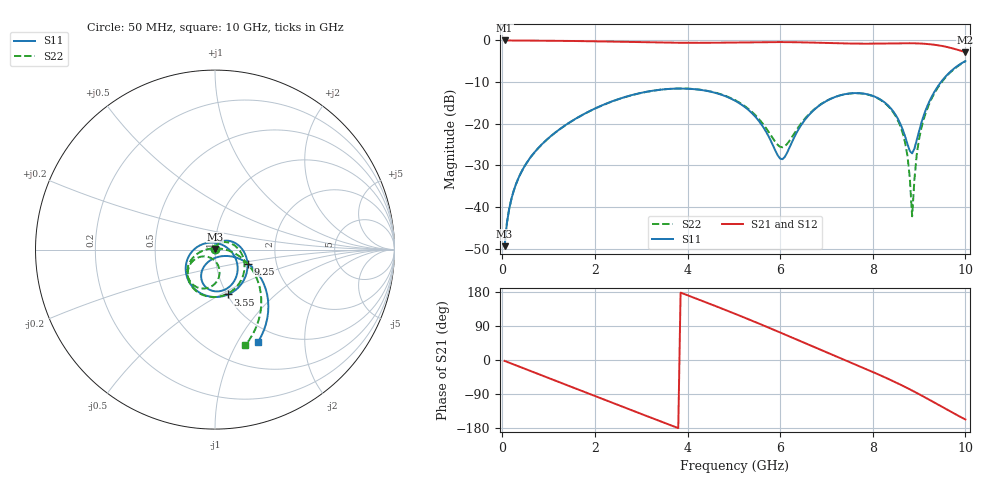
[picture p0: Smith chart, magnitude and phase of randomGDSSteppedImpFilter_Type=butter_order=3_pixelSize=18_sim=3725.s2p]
! freq	dB(S11)	phase(S11)	dB(S12)	phase(S12)
!  dB(S21)	phase(S21)	dB(S22)	phase(S22)
!S-par simulation data
#  GHz  S  DB  R 50
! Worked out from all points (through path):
!   200 points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, 50 MHz to 10 GHz, reference 50 ohm
!   highest |S21| = 0.00 dB at 50 MHz (marker M1); lowest = -2.8 dB at 10 GHz (marker M2)
!   group delay of S21, straight-line fit = 140 ps
!   lowest |S11| = -49.4 dB at 50 MHz (marker M3), VSWR 1.01, Z = 50.1 + j0.333 ohm
!   |S11| at or under -10 dB: start of sweep to 9.473 GHz
!   |S22| runs from -49.3 to -5.0 dB; largest |S21 - S12| = 0
!   S11 on the Smith chart (normalised r, x): 50 MHz: 1.00, +0.01; 3.55 GHz: 1.01, -0.54; 9.25 GHz: 1.43, -0.23; 10 GHz: 0.81, -1.22
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0.05  -49.41 79.5  -0.00 -2.4  -0.00 -2.4  -49.34 80.1
0.2  -37.91 78.8  -0.02 -9.6  -0.02 -9.6  -37.93 77.0
0.5  -29.88 67.4  -0.04 -23.8  -0.04 -23.8  -29.88 63.4
1.15  -22.07 39.4  -0.09 -54.7  -0.09 -54.7  -22.09 31.3
1.75  -17.76 12.2  -0.17 -83.2  -0.17 -83.2  -17.78 2.2
2.5  -14.12 -23.2  -0.31 -118.7  -0.31 -118.7  -14.15 -33.2
3.4  -11.85 -66.5  -0.50 -161.1  -0.50 -161.1  -11.85 -74.2
3.55  -11.69 -73.8  -0.53 -168.1  -0.53 -168.1  -11.68 -80.9
4.3  -11.90 -110.6  -0.57 156.8  -0.57 156.8  -11.87 -113.2
5.05  -14.62 -150.9  -0.49 120.7  -0.49 120.7  -14.48 -142.8
5.55  -19.48 174.6  -0.41 95.7  -0.41 95.7  -18.98 -154.9
6.05  -28.52 73.9  -0.40 70.0  -0.40 70.0  -25.66 -114.5
6.7  -17.02 -30.2  -0.52 36.1  -0.52 36.1  -16.88 -80.2
7.5  -12.73 -78.0  -0.75 -5.3  -0.75 -5.3  -12.76 -110.5
8.35  -15.83 -118.6  -0.72 -50.7  -0.72 -50.7  -15.98 -153.1
8.7  -23.11 -116.0  -0.67 -71.3  -0.67 -71.3  -24.62 -177.2
8.8  -26.57 -91.9  -0.68 -77.4  -0.68 -77.4  -33.09 164.7
8.85  -27.13 -69.6  -0.68 -80.6  -0.68 -80.6  -42.24 96.0
8.9  -25.97 -48.0  -0.69 -83.7  -0.69 -83.7  -33.32 18.1
9  -21.70 -25.9  -0.73 -90.2  -0.73 -90.2  -23.69 -1.9
9.25  -14.01 -23.0  -0.93 -106.8  -0.93 -106.8  -14.45 -22.2
10  -4.94 -64.8  -2.83 -156.9  -2.83 -156.9  -5.05 -72.5
